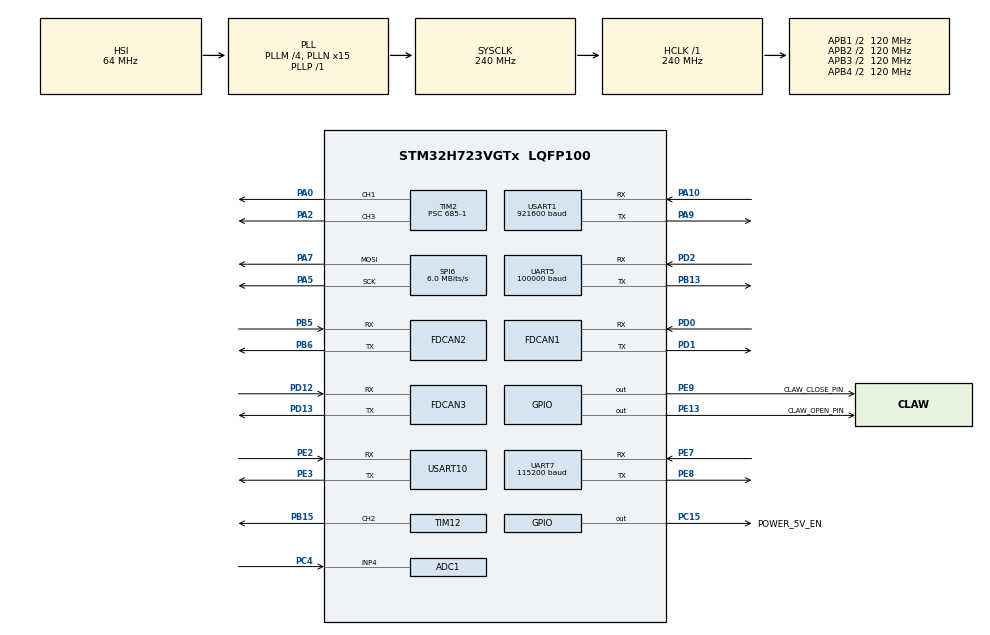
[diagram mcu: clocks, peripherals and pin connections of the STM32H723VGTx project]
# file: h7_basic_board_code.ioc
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ADC1.Channel-0\#ChannelRegularConversion=ADC_CHANNEL_4
ADC1.NbrOfConversionFlag=1
ADC1.OffsetNumber-0\#ChannelRegularConversion=ADC_OFFSET_NONE
ADC1.OffsetSignedSaturation-0\#ChannelRegularConversion=DISABLE
ADC1.Rank-0\#ChannelRegularConversion=1
ADC1.Resolution=ADC_RESOLUTION_12B
ADC1.SamplingTime-0\#ChannelRegularConversion=ADC_SAMPLETIME_1CYCLE_5
ADC1.master=1
ADC3.Channel-0\#ChannelRegularConversion=ADC_CHANNEL_VREFINT
ADC3.NbrOfConversionFlag=1
ADC3.OffsetNumber-0\#ChannelRegularConversion=ADC_OFFSET_NONE
ADC3.OffsetSign-0\#ChannelRegularConversion=ADC3_OFFSET_SIGN_NEGATIVE
ADC3.Rank-0\#ChannelRegularConversion=1
ADC3.SamplingTime-0\#ChannelRegularConversion=ADC3_SAMPLETIME_2CYCLES_5
Dma.Request0=UART5_RX
Dma.Request1=USART1_RX
Dma.Request2=USART1_TX
Dma.Request3=UART7_RX
Dma.Request4=UART7_TX
Dma.Request5=USART10_RX
Dma.Request6=USART10_TX
Dma.UART5_RX.0.Direction=DMA_PERIPH_TO_MEMORY
Dma.UART5_RX.0.EventEnable=DISABLE
Dma.UART5_RX.0.FIFOMode=DMA_FIFOMODE_DISABLE
Dma.UART5_RX.0.Instance=DMA1_Stream1
Dma.UART5_RX.0.MemDataAlignment=DMA_MDATAALIGN_BYTE
Dma.UART5_RX.0.MemInc=DMA_MINC_ENABLE
Dma.UART5_RX.0.Mode=DMA_NORMAL
Dma.UART5_RX.0.PeriphDataAlignment=DMA_PDATAALIGN_BYTE
Dma.UART5_RX.0.PeriphInc=DMA_PINC_DISABLE
Dma.UART5_RX.0.Polarity=HAL_DMAMUX_REQ_GEN_RISING
Dma.UART5_RX.0.Priority=DMA_PRIORITY_HIGH
Dma.UART5_RX.0.RequestNumber=1
Dma.UART5_RX.0.SignalID=NONE
Dma.UART5_RX.0.SyncEnable=DISABLE
Dma.UART5_RX.0.SyncPolarity=HAL_DMAMUX_SYNC_NO_EVENT
Dma.UART5_RX.0.SyncRequestNumber=1
Dma.UART5_RX.0.SyncSignalID=NONE
Dma.UART7_RX.3.Direction=DMA_PERIPH_TO_MEMORY
Dma.UART7_RX.3.EventEnable=DISABLE
Dma.UART7_RX.3.FIFOMode=DMA_FIFOMODE_DISABLE
Dma.UART7_RX.3.Instance=DMA1_Stream2
Dma.UART7_RX.3.MemDataAlignment=DMA_MDATAALIGN_BYTE
Dma.UART7_RX.3.MemInc=DMA_MINC_ENABLE
Dma.UART7_RX.3.Mode=DMA_NORMAL
Dma.UART7_RX.3.PeriphDataAlignment=DMA_PDATAALIGN_BYTE
Dma.UART7_RX.3.PeriphInc=DMA_PINC_DISABLE
Dma.UART7_RX.3.Polarity=HAL_DMAMUX_REQ_GEN_RISING
Dma.UART7_RX.3.Priority=DMA_PRIORITY_MEDIUM
Dma.UART7_RX.3.RequestNumber=1
Dma.UART7_RX.3.SignalID=NONE
Dma.UART7_RX.3.SyncEnable=DISABLE
Dma.UART7_RX.3.SyncPolarity=HAL_DMAMUX_SYNC_NO_EVENT
Dma.UART7_RX.3.SyncRequestNumber=1
Dma.UART7_RX.3.SyncSignalID=NONE
Dma.UART7_TX.4.Direction=DMA_MEMORY_TO_PERIPH
Dma.UART7_TX.4.EventEnable=DISABLE
Dma.UART7_TX.4.FIFOMode=DMA_FIFOMODE_DISABLE
Dma.UART7_TX.4.Instance=DMA1_Stream3
Dma.UART7_TX.4.MemDataAlignment=DMA_MDATAALIGN_BYTE
Dma.UART7_TX.4.MemInc=DMA_MINC_ENABLE
Dma.UART7_TX.4.Mode=DMA_NORMAL
Dma.UART7_TX.4.PeriphDataAlignment=DMA_PDATAALIGN_BYTE
Dma.UART7_TX.4.PeriphInc=DMA_PINC_DISABLE
Dma.UART7_TX.4.Polarity=HAL_DMAMUX_REQ_GEN_RISING
Dma.UART7_TX.4.Priority=DMA_PRIORITY_MEDIUM
Dma.UART7_TX.4.RequestNumber=1
Dma.UART7_TX.4.SignalID=NONE
Dma.UART7_TX.4.SyncEnable=DISABLE
Dma.UART7_TX.4.SyncPolarity=HAL_DMAMUX_SYNC_NO_EVENT
Dma.UART7_TX.4.SyncRequestNumber=1
Dma.UART7_TX.4.SyncSignalID=NONE
Dma.USART10_RX.5.Direction=DMA_PERIPH_TO_MEMORY
Dma.USART10_RX.5.EventEnable=DISABLE
Dma.USART10_RX.5.FIFOMode=DMA_FIFOMODE_DISABLE
Dma.USART10_RX.5.Instance=DMA1_Stream4
Dma.USART10_RX.5.MemDataAlignment=DMA_MDATAALIGN_BYTE
Dma.USART10_RX.5.MemInc=DMA_MINC_ENABLE
Dma.USART10_RX.5.Mode=DMA_NORMAL
Dma.USART10_RX.5.PeriphDataAlignment=DMA_PDATAALIGN_BYTE
Dma.USART10_RX.5.PeriphInc=DMA_PINC_DISABLE
Dma.USART10_RX.5.Polarity=HAL_DMAMUX_REQ_GEN_RISING
Dma.USART10_RX.5.Priority=DMA_PRIORITY_MEDIUM
Dma.USART10_RX.5.RequestNumber=1
Dma.USART10_RX.5.SignalID=NONE
Dma.USART10_RX.5.SyncEnable=DISABLE
Dma.USART10_RX.5.SyncPolarity=HAL_DMAMUX_SYNC_NO_EVENT
Dma.USART10_RX.5.SyncRequestNumber=1
Dma.USART10_RX.5.SyncSignalID=NONE
Dma.USART10_TX.6.Direction=DMA_MEMORY_TO_PERIPH
Dma.USART10_TX.6.EventEnable=DISABLE
Dma.USART10_TX.6.FIFOMode=DMA_FIFOMODE_DISABLE
Dma.USART10_TX.6.Instance=DMA1_Stream5
Dma.USART10_TX.6.MemDataAlignment=DMA_MDATAALIGN_BYTE
Dma.USART10_TX.6.MemInc=DMA_MINC_ENABLE
Dma.USART10_TX.6.Mode=DMA_NORMAL
Dma.USART10_TX.6.PeriphDataAlignment=DMA_PDATAALIGN_BYTE
Dma.USART10_TX.6.PeriphInc=DMA_PINC_DISABLE
Dma.USART10_TX.6.Polarity=HAL_DMAMUX_REQ_GEN_RISING
Dma.USART10_TX.6.Priority=DMA_PRIORITY_MEDIUM
Dma.USART10_TX.6.RequestNumber=1
Dma.USART10_TX.6.SignalID=NONE
Dma.USART10_TX.6.SyncEnable=DISABLE
Dma.USART10_TX.6.SyncPolarity=HAL_DMAMUX_SYNC_NO_EVENT
Dma.USART10_TX.6.SyncRequestNumber=1
Dma.USART10_TX.6.SyncSignalID=NONE
Dma.USART1_RX.1.Direction=DMA_PERIPH_TO_MEMORY
Dma.USART1_RX.1.EventEnable=DISABLE
Dma.USART1_RX.1.FIFOMode=DMA_FIFOMODE_DISABLE
Dma.USART1_RX.1.Instance=DMA1_Stream0
Dma.USART1_RX.1.MemDataAlignment=DMA_MDATAALIGN_BYTE
Dma.USART1_RX.1.MemInc=DMA_MINC_ENABLE
Dma.USART1_RX.1.Mode=DMA_NORMAL
Dma.USART1_RX.1.PeriphDataAlignment=DMA_PDATAALIGN_BYTE
Dma.USART1_RX.1.PeriphInc=DMA_PINC_DISABLE
Dma.USART1_RX.1.Polarity=HAL_DMAMUX_REQ_GEN_RISING
Dma.USART1_RX.1.Priority=DMA_PRIORITY_MEDIUM
Dma.USART1_RX.1.RequestNumber=1
Dma.USART1_RX.1.SignalID=NONE
Dma.USART1_RX.1.SyncEnable=DISABLE
Dma.USART1_RX.1.SyncPolarity=HAL_DMAMUX_SYNC_NO_EVENT
Dma.USART1_RX.1.SyncRequestNumber=1
Dma.USART1_RX.1.SyncSignalID=NONE
Dma.USART1_TX.2.Direction=DMA_MEMORY_TO_PERIPH
Dma.USART1_TX.2.EventEnable=DISABLE
Dma.USART1_TX.2.FIFOMode=DMA_FIFOMODE_DISABLE
Dma.USART1_TX.2.Instance=DMA1_Stream7
Dma.USART1_TX.2.MemDataAlignment=DMA_MDATAALIGN_BYTE
Dma.USART1_TX.2.MemInc=DMA_MINC_ENABLE
Dma.USART1_TX.2.Mode=DMA_NORMAL
Dma.USART1_TX.2.PeriphDataAlignment=DMA_PDATAALIGN_BYTE
Dma.USART1_TX.2.PeriphInc=DMA_PINC_DISABLE
Dma.USART1_TX.2.Polarity=HAL_DMAMUX_REQ_GEN_RISING
Dma.USART1_TX.2.Priority=DMA_PRIORITY_MEDIUM
Dma.USART1_TX.2.RequestNumber=1
Dma.USART1_TX.2.SignalID=NONE
Dma.USART1_TX.2.SyncEnable=DISABLE
Dma.USART1_TX.2.SyncPolarity=HAL_DMAMUX_SYNC_NO_EVENT
Dma.USART1_TX.2.SyncRequestNumber=1
Dma.USART1_TX.2.SyncSignalID=NONE
FDCAN1.CalculateBaudRateNominal=1000000
FDCAN1.CalculateTimeBitNominal=1000
FDCAN1.CalculateTimeQuantumNominal=200.0
FDCAN1.ExtFiltersNbr=1
FDCAN1.NominalPrescaler=24
FDCAN1.RxFifo0ElmtsNbr=32
FDCAN1.StdFiltersNbr=1
FDCAN1.TxFifoQueueElmtsNbr=32
FDCAN2.CalculateBaudRateNominal=1000000
FDCAN2.CalculateTimeBitNominal=1000
FDCAN2.CalculateTimeQuantumNominal=200.0
FDCAN2.ExtFiltersNbr=1
FDCAN2.NominalPrescaler=24
FDCAN2.RxFifo0ElmtsNbr=32
FDCAN2.StdFiltersNbr=1
FDCAN2.TxFifoQueueElmtsNbr=32
FDCAN3.CalculateBaudRateNominal=1000000
FDCAN3.CalculateTimeBitNominal=1000
FDCAN3.CalculateTimeQuantumNominal=200.0
FDCAN3.ExtFiltersNbr=1
FDCAN3.NominalPrescaler=24
FDCAN3.RxFifo0ElmtsNbr=32
FDCAN3.StdFiltersNbr=1
FDCAN3.TxFifoQueueElmtsNbr=32
FREERTOS.Tasks01=defaultTask,24,256,StartDefaultTask,Default,NULL,Dynamic,NULL,NULL;ChassisTask,24,256,__chassis_task,Default,NULL,Dynamic,NULL,NULL;USART2_measure,24,512,__usart2_measure_task,Default,NULL,Dynamic,NULL,NULL;GimbalTask,24,256,__gimbal_task,Default,NULL,Dynamic,NULL,NULL;HandTask,24,1024,__hand_task,Default,NULL,Dynamic,NULL,NULL;USART3_measure,24,128,__usart3_measure_task,Default,NULL,Dynamic,NULL,NULL;CustomCtrlTask,24,256,__Custom_Ctrl_Task,Default,NULL,Dynamic,NULL,NULL;CatcherTask,24,128,__catcher_task,Default,NULL,Dynamic,NULL,NULL;referee_task,24,518,__referee_task,Default,NULL,Dynamic,NULL,NULL;VofaTask,8,128,__vofa_uart_task,Default,NULL,Dynamic,NULL,NULL
FREERTOS.Timers01=motor_timer_ctrl,__motor_timr_ctrl_callback,osTimerPeriodic,Default,NULL,Dynamic,NULL;RM_UI_Timer,__RM_UI_Timer,osTimerPeriodic,Default,NULL,Dynamic,NULL
Mcu.Family=STM32H7
Mcu.Name=STM32H723VGTx
Mcu.Package=LQFP100
NVIC.DMA1_Stream0_IRQn=true\:5\:0\:false\:false\:true\:true\:false\:true\:true
NVIC.DMA1_Stream1_IRQn=true\:5\:0\:false\:false\:true\:false\:false\:true\:true
NVIC.DMA1_Stream2_IRQn=true\:5\:0\:false\:false\:true\:true\:false\:true\:true
NVIC.DMA1_Stream3_IRQn=true\:5\:0\:false\:false\:true\:true\:false\:true\:true
NVIC.DMA1_Stream4_IRQn=true\:5\:0\:false\:false\:true\:true\:false\:true\:true
NVIC.DMA1_Stream5_IRQn=true\:5\:0\:false\:false\:true\:true\:false\:true\:true
NVIC.DMA1_Stream7_IRQn=true\:5\:0\:false\:false\:true\:false\:false\:true\:true
NVIC.FDCAN1_IT0_IRQn=true\:5\:0\:false\:false\:true\:true\:true\:true\:true
NVIC.FDCAN1_IT1_IRQn=true\:5\:0\:false\:false\:true\:true\:true\:true\:true
NVIC.FDCAN2_IT0_IRQn=true\:5\:0\:false\:false\:true\:true\:true\:true\:true
NVIC.FDCAN2_IT1_IRQn=true\:5\:0\:false\:false\:true\:true\:true\:true\:true
NVIC.FDCAN3_IT0_IRQn=true\:5\:0\:false\:false\:true\:true\:true\:true\:true
NVIC.FDCAN3_IT1_IRQn=true\:5\:0\:false\:false\:true\:true\:true\:true\:true
NVIC.PriorityGroup=NVIC_PRIORITYGROUP_4
NVIC.TIM6_DAC_IRQn=true\:15\:0\:false\:false\:true\:false\:false\:true\:true
NVIC.TimeBase=TIM6_DAC_IRQn
NVIC.TimeBaseIP=TIM6
NVIC.UART5_IRQn=true\:5\:0\:false\:false\:true\:true\:true\:true\:true
NVIC.UART7_IRQn=true\:5\:0\:false\:false\:true\:true\:true\:true\:true
NVIC.USART10_IRQn=true\:5\:0\:false\:false\:true\:true\:true\:true\:true
NVIC.USART1_IRQn=true\:5\:0\:false\:false\:true\:true\:true\:true\:true
PA0.Signal=S_TIM2_CH1_ETR
PA10.Mode=Asynchronous
PA10.Signal=USART1_RX
PA2.Signal=S_TIM2_CH3
PA5.Mode=TX_Only_Simplex_Unidirect_Master
PA5.Signal=SPI6_SCK
PA7.Mode=TX_Only_Simplex_Unidirect_Master
PA7.Signal=SPI6_MOSI
PA9.Mode=Asynchronous
PA9.Signal=USART1_TX
PB13.Mode=Asynchronous
PB13.Signal=UART5_TX
PB15.Signal=S_TIM12_CH2
PB5.Mode=FDCAN_Activate
PB5.Signal=FDCAN2_RX
PB6.Mode=FDCAN_Activate
PB6.Signal=FDCAN2_TX
PC15-OSC32_OUT.GPIO_Label=POWER_5V_EN
PC15-OSC32_OUT.GPIO_PuPd=GPIO_NOPULL
PC15-OSC32_OUT.GPIO_Speed=GPIO_SPEED_FREQ_LOW
PC15-OSC32_OUT.Signal=GPIO_Output
PC4.Signal=ADCx_INP4
PD0.Mode=FDCAN_Activate
PD0.Signal=FDCAN1_RX
PD1.Mode=FDCAN_Activate
PD1.Signal=FDCAN1_TX
PD12.Mode=FDCAN_Activate
PD12.Signal=FDCAN3_RX
PD13.Mode=FDCAN_Activate
PD13.Signal=FDCAN3_TX
PD2.Mode=Asynchronous
PD2.Signal=UART5_RX
PE13.GPIO_Label=CLAW_OPEN_PIN 
PE13.Signal=GPIO_Output
PE2.Mode=Asynchronous
PE2.Signal=USART10_RX
PE3.Mode=Asynchronous
PE3.Signal=USART10_TX
PE7.Mode=Asynchronous
PE7.Signal=UART7_RX
PE8.Mode=Asynchronous
PE8.Signal=UART7_TX
PE9.GPIO_Label=CLAW_CLOSE_PIN
PE9.Signal=GPIO_Output
PH0-OSC_IN.Mode=HSE-External-Oscillator
PH0-OSC_IN.Signal=RCC_OSC_IN
PH1-OSC_OUT.Mode=HSE-External-Oscillator
PH1-OSC_OUT.Signal=RCC_OSC_OUT
ProjectManager.HeapSize=0x4000
ProjectManager.StackSize=0x4000
ProjectManager.TargetToolchain=MDK-ARM V5.32
RCC.ADCFreq_Value=96000000
RCC.APB1Freq_Value=120000000
RCC.APB2Freq_Value=120000000
RCC.APB3Freq_Value=120000000
RCC.APB4Freq_Value=120000000
RCC.CortexFreq_Value=240000000
RCC.D1PPRE=RCC_APB3_DIV2
RCC.D2PPRE1=RCC_APB1_DIV2
RCC.D2PPRE2=RCC_APB2_DIV2
RCC.D3PPRE=RCC_APB4_DIV2
RCC.DIVM1=4
RCC.DIVM2=4
RCC.DIVN1=15
RCC.DIVN2=12
RCC.DIVP1=1
RCC.HCLKFreq_Value=240000000
RCC.HSE_VALUE=24000000
RCC.PLL2FRACN=0
RCC.PLL3FRACN=0
RCC.PLLFRACN=0
RCC.PWR_Regulator_Voltage_Scale=PWR_REGULATOR_VOLTAGE_SCALE0
RCC.SPI6CLockSelection=RCC_SPI6CLKSOURCE_HSE
RCC.SYSCLKFreq_VALUE=240000000
RCC.SYSCLKSource=RCC_SYSCLKSOURCE_PLLCLK
RCC.USBFreq_Value=120000000
SH.ADCx_INP4.0=ADC1_INP4,IN4-Single-Ended
SH.S_TIM12_CH2.0=TIM12_CH2,PWM Generation2 CH2
SH.S_TIM2_CH1_ETR.0=TIM2_CH1,PWM Generation1 CH1
SH.S_TIM2_CH3.0=TIM2_CH3,PWM Generation3 CH3
SPI6.BaudRatePrescaler=SPI_BAUDRATEPRESCALER_4
SPI6.CLKPhase=SPI_PHASE_2EDGE
SPI6.CalculateBaudRate=6.0 MBits/s
SPI6.DataSize=SPI_DATASIZE_8BIT
SPI6.Direction=SPI_DIRECTION_2LINES_TXONLY
SPI6.Mode=SPI_MODE_MASTER
SPI6.VirtualType=VM_MASTER
TIM12.Channel-PWM\ Generation2\ CH2=TIM_CHANNEL_2
TIM12.Period=2000-1
TIM12.Prescaler=24-1
TIM2.AutoReloadPreload=TIM_AUTORELOAD_PRELOAD_DISABLE
TIM2.Channel-PWM\ Generation1\ CH1=TIM_CHANNEL_1
TIM2.Channel-PWM\ Generation3\ CH3=TIM_CHANNEL_3
TIM2.Period=1000-1
TIM2.Prescaler=685-1
TIM2.Pulse-PWM\ Generation1\ CH1=0
UART5.BaudRate=100000
UART5.Mode=MODE_TX_RX
UART5.Parity=PARITY_EVEN
UART5.StopBits=UART_STOPBITS_1
UART5.WordLength=WORDLENGTH_9B
UART7.BaudRate=115200
USART1.BaudRate=921600
USART1.VirtualMode-Asynchronous=VM_ASYNC
USART10.VirtualMode=VM_ASYNC
VP_ADC3_TempSens_Input.Mode=IN-TempSens
VP_ADC3_Vref_Input.Mode=IN-Vrefint
VP_FREERTOS_VS_CMSIS_V2.Mode=CMSIS_V2
VP_SYS_VS_tim6.Mode=TIM6
VREF+.Mode=InternalMode
VREF+.Signal=VREFBUF_OUT
board=custom

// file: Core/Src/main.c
/* USER CODE BEGIN Header */
/**
  ******************************************************************************
  * @file           : main.c
  * @brief          : Main program body
  ******************************************************************************
  * @attention
  *
  * Copyright (c) 2024 STMicroelectronics.
  * All rights reserved.
  *
  * This software is licensed under terms that can be found in the LICENSE file
  * in the root directory of this software component.
  * If no LICENSE file comes with this software, it is provided AS-IS.
  *
  ******************************************************************************
  */
/* USER CODE END Header */
#include "main.h"
#include "cmsis_os.h"

/* USER CODE BEGIN Includes */
#include "ws2812.h"
#include "bsp_pwm.h"
#include "remote_control.h" /*??��????*/
#include "can_bsp.h"
#include "bsp_usart.h"
#include "timers.h"

#include "task.h"
#include "chassis_task.h"
#include "gimbal_task.h"
#include "hand_task.h"
#include "catcher_task.h"
#include "detect_task.h"
#include "referee_usart_task.h"
#include "motor_timer_ctrl.h"
#include "DJI_motor_canbus.h"
#include "Custom_ctrl.h"
#include "visual_trajectory_h7_adapter.h"
#include "Vofa.h"
#include "ui.h"
#include "vofa_uart_task.h"
#include "AK_series.h"
/* USER CODE END Includes */

ADC_HandleTypeDef hadc1;
ADC_HandleTypeDef hadc3;

FDCAN_HandleTypeDef hfdcan1;
FDCAN_HandleTypeDef hfdcan2;
FDCAN_HandleTypeDef hfdcan3;

SPI_HandleTypeDef hspi6;

TIM_HandleTypeDef htim2;
TIM_HandleTypeDef htim12;

UART_HandleTypeDef huart5;
UART_HandleTypeDef huart7;
UART_HandleTypeDef huart1;
UART_HandleTypeDef huart10;
DMA_HandleTypeDef hdma_uart5_rx;
DMA_HandleTypeDef hdma_uart7_rx;
DMA_HandleTypeDef hdma_uart7_tx;
DMA_HandleTypeDef hdma_usart1_rx;
DMA_HandleTypeDef hdma_usart1_tx;
DMA_HandleTypeDef hdma_usart10_rx;
DMA_HandleTypeDef hdma_usart10_tx;

/* Definitions for defaultTask */
osThreadId_t defaultTaskHandle;
const osThreadAttr_t defaultTask_attributes = {
  .name = "defaultTask",
  .stack_size = 256 * 4,
  .priority = (osPriority_t) osPriorityNormal,
};
/* Definitions for ChassisTask */
osThreadId_t ChassisTaskHandle;
const osThreadAttr_t ChassisTask_attributes = {
  .name = "ChassisTask",
  .stack_size = 256 * 4,
  .priority = (osPriority_t) osPriorityNormal,
};
/* Definitions for USART2_measure */
osThreadId_t USART2_measureHandle;
const osThreadAttr_t USART2_measure_attributes = {
  .name = "USART2_measure",
  .stack_size = 512 * 4,
  .priority = (osPriority_t) osPriorityNormal,
};
/* Definitions for GimbalTask */
osThreadId_t GimbalTaskHandle;
const osThreadAttr_t GimbalTask_attributes = {
  .name = "GimbalTask",
  .stack_size = 256 * 4,
  .priority = (osPriority_t) osPriorityNormal,
};
/* Definitions for HandTask */
osThreadId_t HandTaskHandle;
const osThreadAttr_t HandTask_attributes = {
  .name = "HandTask",
  .stack_size = 1024 * 4,
  .priority = (osPriority_t) osPriorityNormal,
};
/* Definitions for USART3_measure */
osThreadId_t USART3_measureHandle;
const osThreadAttr_t USART3_measure_attributes = {
  .name = "USART3_measure",
  .stack_size = 128 * 4,
  .priority = (osPriority_t) osPriorityNormal,
};
/* Definitions for CustomCtrlTask */
osThreadId_t CustomCtrlTaskHandle;
const osThreadAttr_t CustomCtrlTask_attributes = {
  .name = "CustomCtrlTask",
  .stack_size = 512 * 4,
  .priority = (osPriority_t) osPriorityNormal,
};
/* Definitions for CatcherTask */
osThreadId_t CatcherTaskHandle;
const osThreadAttr_t CatcherTask_attributes = {
  .name = "CatcherTask",
  .stack_size = 128 * 4,
  .priority = (osPriority_t) osPriorityNormal,
};
/* Definitions for referee_task */
osThreadId_t referee_taskHandle;
const osThreadAttr_t referee_task_attributes = {
  .name = "referee_task",
  .stack_size = 518 * 4,
  .priority = (osPriority_t) osPriorityNormal,
};
/* Definitions for VofaTask */
osThreadId_t VofaTaskHandle;
const osThreadAttr_t VofaTask_attributes = {
  .name = "VofaTask",
  .stack_size = 128 * 4,
  .priority = (osPriority_t) osPriorityLow,
};
/* Definitions for motor_timer_ctrl */
osTimerId_t motor_timer_ctrlHandle;
const osTimerAttr_t motor_timer_ctrl_attributes = {
  .name = "motor_timer_ctrl"
};
/* Definitions for RM_UI_Timer */
osTimerId_t RM_UI_TimerHandle;
const osTimerAttr_t RM_UI_Timer_attributes = {
  .name = "RM_UI_Timer"
};
/* USER CODE BEGIN PV */
/*task????*/
osThreadId chassis_task_handle;
Vofa_HandleTypedef vofa_handler;
/* USER CODE END PV */

void SystemClock_Config(void);
void PeriphCommonClock_Config(void);
static void MX_GPIO_Init(void);
static void MX_DMA_Init(void);
static void MX_ADC3_Init(void);
static void MX_UART5_Init(void);
static void MX_ADC1_Init(void);
static void MX_SPI6_Init(void);
static void MX_FDCAN1_Init(void);
static void MX_USART1_UART_Init(void);
static void MX_UART7_Init(void);
static void MX_USART10_UART_Init(void);
static void MX_FDCAN2_Init(void);
static void MX_FDCAN3_Init(void);
static void MX_TIM2_Init(void);
static void MX_TIM12_Init(void);
void StartDefaultTask(void *argument);
void __chassis_task(void *argument);
void __usart2_measure_task(void *argument);
void __gimbal_task(void *argument);
void __hand_task(void *argument);
void __usart3_measure_task(void *argument);
void __Custom_Ctrl_Task(void *argument);
void __catcher_task(void *argument);
void __referee_task(void *argument);
void __vofa_uart_task(void *argument);
void __motor_timr_ctrl_callback(void *argument);
void __RM_UI_Timer(void *argument);

int main(void)
 {
  /* USER CODE BEGIN 1 */
  for(int aaaa = 1000000 ; aaaa > 0 ; aaaa--)
	{
    ;
	}
  /* USER CODE END 1 */

  /* MCU Configuration--------------------------------------------------------*/

  /* Reset of all peripherals, Initializes the Flash interface and the Systick. */
  HAL_Init();

  /* Configure the system clock */
  SystemClock_Config();

/* Configure the peripherals common clocks */
  PeriphCommonClock_Config();

  /* Initialize all configured peripherals */
  MX_GPIO_Init();
  MX_DMA_Init();
  MX_ADC3_Init();
  MX_UART5_Init();
  MX_ADC1_Init();
  MX_SPI6_Init();
  MX_FDCAN1_Init();
  MX_USART1_UART_Init();
  MX_UART7_Init();
  MX_USART10_UART_Init();
  MX_FDCAN2_Init();
  MX_FDCAN3_Init();
  MX_TIM2_Init();
  MX_TIM12_Init();
  /* USER CODE BEGIN 2 */
  HAL_TIM_PWM_Start(&htim2,TIM_CHANNEL_1);
  HAL_TIM_PWM_Start(&htim2,TIM_CHANNEL_3);
  remote_control_init();
  can_bsp_init();
  usart1_init();
  uart7_init();
  usart10_init();
  DJI_CANBus_init_all();
  /* USART10 is dedicated to the visual arm protocol; RM_UI is disabled. */
  WS2812_Ctrl(0,0,0);

  /* TEMP TEST: drive PD5/PD6 high to verify these pins output high level */
//  HAL_GPIO_WritePin(GPIOE, GPIO_PIN_9, GPIO_PIN_SET);
//	HAL_Delay(100);
//	HAL_GPIO_WritePin(GPIOE, GPIO_PIN_9, GPIO_PIN_RESET);
//	HAL_Delay(2000);
//  HAL_GPIO_WritePin(GPIOE, GPIO_PIN_13, GPIO_PIN_SET);
//	HAL_Delay(100);
//	HAL_GPIO_WritePin(GPIOE, GPIO_PIN_13, GPIO_PIN_RESET);
//	HAL_Delay(2000);
  //Vofa_Init(&vofa_handler,VOFA_MODE_SKIP);

HAL_GPIO_WritePin(POWER_5V_EN_GPIO_Port,POWER_5V_EN_Pin,GPIO_PIN_SET);
  HAL_Delay(3000);/*delay for initalization of motor*/
  /* USER CODE END 2 */

  /* Init scheduler */
  osKernelInitialize();

  /* Create the timer(s) */
  /* creation of motor_timer_ctrl */
  motor_timer_ctrlHandle = osTimerNew(__motor_timr_ctrl_callback, osTimerPeriodic, NULL, &motor_timer_ctrl_attributes);

  /* creation of RM_UI_Timer */
  RM_UI_TimerHandle = osTimerNew(__RM_UI_Timer, osTimerPeriodic, NULL, &RM_UI_Timer_attributes);

  /* USER CODE BEGIN RTOS_TIMERS */
  motor_ctrl_init();
  /* RM_UI timer intentionally not started: USART10 belongs to visual control. */
  /* start timers, add new ones, ... */
  /* USER CODE END RTOS_TIMERS */

  /* Create the thread(s) */
  /* creation of defaultTask */
  defaultTaskHandle = osThreadNew(StartDefaultTask, NULL, &defaultTask_attributes);

  /* creation of ChassisTask */
  //ChassisTaskHandle = osThreadNew(__chassis_task, NULL, &ChassisTask_attributes);

  /* creation of USART2_measure */
  USART2_measureHandle = osThreadNew(__usart2_measure_task, NULL, &USART2_measure_attributes);

  /* creation of GimbalTask */
  //GimbalTaskHandle = osThreadNew(__gimbal_task, NULL, &GimbalTask_attributes);

  /* creation of HandTask */
  HandTaskHandle = osThreadNew(__hand_task, NULL, &HandTask_attributes);

  /* creation of USART3_measure */
  USART3_measureHandle = osThreadNew(__usart3_measure_task, NULL, &USART3_measure_attributes);

  /* creation of CustomCtrlTask */
  CustomCtrlTaskHandle = osThreadNew(__Custom_Ctrl_Task, NULL, &CustomCtrlTask_attributes);

  /* creation of CatcherTask */
  //CatcherTaskHandle = osThreadNew(__catcher_task, NULL, &CatcherTask_attributes);

  /* creation of referee_task */
  //referee_taskHandle = osThreadNew(__referee_task, NULL, &referee_task_attributes);

  /* creation of VofaTask */
  //VofaTaskHandle = osThreadNew(__vofa_uart_task, NULL, &VofaTask_attributes);

  /* Start scheduler */
  osKernelStart();

  /* We should never get here as control is now taken by the scheduler */
  /* Infinite loop */
  while (1)
  {

  }
}

void SystemClock_Config(void)
{
  RCC_OscInitTypeDef RCC_OscInitStruct = {0};
  RCC_ClkInitTypeDef RCC_ClkInitStruct = {0};

  /** Supply configuration update enable
  */
  HAL_PWREx_ConfigSupply(PWR_LDO_SUPPLY);

  /** Configure the main internal regulator output voltage
  */
  __HAL_PWR_VOLTAGESCALING_CONFIG(PWR_REGULATOR_VOLTAGE_SCALE0);

  while(!__HAL_PWR_GET_FLAG(PWR_FLAG_VOSRDY)) {}

  /** Initializes the RCC Oscillators according to the specified parameters
  * in the RCC_OscInitTypeDef structure.
  */
  RCC_OscInitStruct.OscillatorType = RCC_OSCILLATORTYPE_HSI|RCC_OSCILLATORTYPE_HSE;
  RCC_OscInitStruct.HSEState = RCC_HSE_ON;
  RCC_OscInitStruct.HSIState = RCC_HSI_DIV1;
  RCC_OscInitStruct.HSICalibrationValue = 64;
  RCC_OscInitStruct.PLL.PLLState = RCC_PLL_ON;
  RCC_OscInitStruct.PLL.PLLSource = RCC_PLLSOURCE_HSI;
  RCC_OscInitStruct.PLL.PLLM = 4;
  RCC_OscInitStruct.PLL.PLLN = 15;
  RCC_OscInitStruct.PLL.PLLP = 1;
  RCC_OscInitStruct.PLL.PLLQ = 2;
  RCC_OscInitStruct.PLL.PLLR = 2;
  RCC_OscInitStruct.PLL.PLLRGE = RCC_PLL1VCIRANGE_3;
  RCC_OscInitStruct.PLL.PLLVCOSEL = RCC_PLL1VCOWIDE;
  RCC_OscInitStruct.PLL.PLLFRACN = 0;
  if (HAL_RCC_OscConfig(&RCC_OscInitStruct) != HAL_OK)
  {
    Error_Handler();
  }

  /** Initializes the CPU, AHB and APB buses clocks
  */
  RCC_ClkInitStruct.ClockType = RCC_CLOCKTYPE_HCLK|RCC_CLOCKTYPE_SYSCLK
                              |RCC_CLOCKTYPE_PCLK1|RCC_CLOCKTYPE_PCLK2
                              |RCC_CLOCKTYPE_D3PCLK1|RCC_CLOCKTYPE_D1PCLK1;
  RCC_ClkInitStruct.SYSCLKSource = RCC_SYSCLKSOURCE_PLLCLK;
  RCC_ClkInitStruct.SYSCLKDivider = RCC_SYSCLK_DIV1;
  RCC_ClkInitStruct.AHBCLKDivider = RCC_HCLK_DIV1;
  RCC_ClkInitStruct.APB3CLKDivider = RCC_APB3_DIV2;
  RCC_ClkInitStruct.APB1CLKDivider = RCC_APB1_DIV2;
  RCC_ClkInitStruct.APB2CLKDivider = RCC_APB2_DIV2;
  RCC_ClkInitStruct.APB4CLKDivider = RCC_APB4_DIV2;

  if (HAL_RCC_ClockConfig(&RCC_ClkInitStruct, FLASH_LATENCY_3) != HAL_OK)
  {
    Error_Handler();
  }
}

void PeriphCommonClock_Config(void)
{
  RCC_PeriphCLKInitTypeDef PeriphClkInitStruct = {0};

  /** Initializes the peripherals clock
  */
  PeriphClkInitStruct.PeriphClockSelection = RCC_PERIPHCLK_ADC;
  PeriphClkInitStruct.PLL2.PLL2M = 4;
  PeriphClkInitStruct.PLL2.PLL2N = 12;
  PeriphClkInitStruct.PLL2.PLL2P = 2;
  PeriphClkInitStruct.PLL2.PLL2Q = 2;
  PeriphClkInitStruct.PLL2.PLL2R = 2;
  PeriphClkInitStruct.PLL2.PLL2RGE = RCC_PLL2VCIRANGE_3;
  PeriphClkInitStruct.PLL2.PLL2VCOSEL = RCC_PLL2VCOWIDE;
  PeriphClkInitStruct.PLL2.PLL2FRACN = 0;
  PeriphClkInitStruct.AdcClockSelection = RCC_ADCCLKSOURCE_PLL2;
  if (HAL_RCCEx_PeriphCLKConfig(&PeriphClkInitStruct) != HAL_OK)
  {
    Error_Handler();
  }
}

static void MX_ADC1_Init(void)
{

  ADC_MultiModeTypeDef multimode = {0};
  ADC_ChannelConfTypeDef sConfig = {0};

  /** Common config
  */
  hadc1.Instance = ADC1;
  hadc1.Init.ClockPrescaler = ADC_CLOCK_ASYNC_DIV1;
  hadc1.Init.Resolution = ADC_RESOLUTION_12B;
  hadc1.Init.ScanConvMode = ADC_SCAN_DISABLE;
  hadc1.Init.EOCSelection = ADC_EOC_SINGLE_CONV;
  hadc1.Init.LowPowerAutoWait = DISABLE;
  hadc1.Init.ContinuousConvMode = DISABLE;
  hadc1.Init.NbrOfConversion = 1;
  hadc1.Init.DiscontinuousConvMode = DISABLE;
  hadc1.Init.ExternalTrigConv = ADC_SOFTWARE_START;
  hadc1.Init.ExternalTrigConvEdge = ADC_EXTERNALTRIGCONVEDGE_NONE;
  hadc1.Init.ConversionDataManagement = ADC_CONVERSIONDATA_DR;
  hadc1.Init.Overrun = ADC_OVR_DATA_PRESERVED;
  hadc1.Init.LeftBitShift = ADC_LEFTBITSHIFT_NONE;
  hadc1.Init.OversamplingMode = DISABLE;
  if (HAL_ADC_Init(&hadc1) != HAL_OK)
  {
    Error_Handler();
  }

  /** Configure the ADC multi-mode
  */
  multimode.Mode = ADC_MODE_INDEPENDENT;
  if (HAL_ADCEx_MultiModeConfigChannel(&hadc1, &multimode) != HAL_OK)
  {
    Error_Handler();
  }

  /** Configure Regular Channel
  */
  sConfig.Channel = ADC_CHANNEL_4;
  sConfig.Rank = ADC_REGULAR_RANK_1;
  sConfig.SamplingTime = ADC_SAMPLETIME_1CYCLE_5;
  sConfig.SingleDiff = ADC_SINGLE_ENDED;
  sConfig.OffsetNumber = ADC_OFFSET_NONE;
  sConfig.Offset = 0;
  sConfig.OffsetSignedSaturation = DISABLE;
  if (HAL_ADC_ConfigChannel(&hadc1, &sConfig) != HAL_OK)
  {
    Error_Handler();
  }

}

static void MX_ADC3_Init(void)
{

  ADC_ChannelConfTypeDef sConfig = {0};

  /** Common config
  */
  hadc3.Instance = ADC3;
  hadc3.Init.ClockPrescaler = ADC_CLOCK_ASYNC_DIV1;
  hadc3.Init.Resolution = ADC_RESOLUTION_12B;
  hadc3.Init.DataAlign = ADC3_DATAALIGN_RIGHT;
  hadc3.Init.ScanConvMode = ADC_SCAN_DISABLE;
  hadc3.Init.EOCSelection = ADC_EOC_SINGLE_CONV;
  hadc3.Init.LowPowerAutoWait = DISABLE;
  hadc3.Init.ContinuousConvMode = DISABLE;
  hadc3.Init.NbrOfConversion = 1;
  hadc3.Init.DiscontinuousConvMode = DISABLE;
  hadc3.Init.ExternalTrigConv = ADC_SOFTWARE_START;
  hadc3.Init.ExternalTrigConvEdge = ADC_EXTERNALTRIGCONVEDGE_NONE;
  hadc3.Init.DMAContinuousRequests = DISABLE;
  hadc3.Init.SamplingMode = ADC_SAMPLING_MODE_NORMAL;
  hadc3.Init.ConversionDataManagement = ADC_CONVERSIONDATA_DR;
  hadc3.Init.Overrun = ADC_OVR_DATA_PRESERVED;
  hadc3.Init.LeftBitShift = ADC_LEFTBITSHIFT_NONE;
  hadc3.Init.OversamplingMode = DISABLE;
  if (HAL_ADC_Init(&hadc3) != HAL_OK)
  {
    Error_Handler();
  }

  /** Configure Regular Channel
  */
  sConfig.Channel = ADC_CHANNEL_VREFINT;
  sConfig.Rank = ADC_REGULAR_RANK_1;
  sConfig.SamplingTime = ADC3_SAMPLETIME_2CYCLES_5;
  sConfig.SingleDiff = ADC_SINGLE_ENDED;
  sConfig.OffsetNumber = ADC_OFFSET_NONE;
  sConfig.Offset = 0;
  sConfig.OffsetSign = ADC3_OFFSET_SIGN_NEGATIVE;
  if (HAL_ADC_ConfigChannel(&hadc3, &sConfig) != HAL_OK)
  {
    Error_Handler();
  }

}

static void MX_FDCAN1_Init(void)
{

  hfdcan1.Instance = FDCAN1;
  hfdcan1.Init.FrameFormat = FDCAN_FRAME_CLASSIC;
  hfdcan1.Init.Mode = FDCAN_MODE_NORMAL;
  hfdcan1.Init.AutoRetransmission = DISABLE;
  hfdcan1.Init.TransmitPause = DISABLE;
  hfdcan1.Init.ProtocolException = DISABLE;
  hfdcan1.Init.NominalPrescaler = 24;
  hfdcan1.Init.NominalSyncJumpWidth = 1;
  hfdcan1.Init.NominalTimeSeg1 = 2;
  hfdcan1.Init.NominalTimeSeg2 = 2;
  hfdcan1.Init.DataPrescaler = 1;
  hfdcan1.Init.DataSyncJumpWidth = 1;
  hfdcan1.Init.DataTimeSeg1 = 1;
  hfdcan1.Init.DataTimeSeg2 = 1;
  hfdcan1.Init.MessageRAMOffset = 0;
  hfdcan1.Init.StdFiltersNbr = 1;
  hfdcan1.Init.ExtFiltersNbr = 1;
  hfdcan1.Init.RxFifo0ElmtsNbr = 32;
  hfdcan1.Init.RxFifo0ElmtSize = FDCAN_DATA_BYTES_8;
  hfdcan1.Init.RxFifo1ElmtsNbr = 0;
  hfdcan1.Init.RxFifo1ElmtSize = FDCAN_DATA_BYTES_8;
  hfdcan1.Init.RxBuffersNbr = 0;
  hfdcan1.Init.RxBufferSize = FDCAN_DATA_BYTES_8;
  hfdcan1.Init.TxEventsNbr = 0;
  hfdcan1.Init.TxBuffersNbr = 0;
  hfdcan1.Init.TxFifoQueueElmtsNbr = 32;
  hfdcan1.Init.TxFifoQueueMode = FDCAN_TX_FIFO_OPERATION;
  hfdcan1.Init.TxElmtSize = FDCAN_DATA_BYTES_8;
  if (HAL_FDCAN_Init(&hfdcan1) != HAL_OK)
  {
    Error_Handler();
  }

}

static void MX_FDCAN2_Init(void)
{

  hfdcan2.Instance = FDCAN2;
  hfdcan2.Init.FrameFormat = FDCAN_FRAME_CLASSIC;
  hfdcan2.Init.Mode = FDCAN_MODE_NORMAL;
  hfdcan2.Init.AutoRetransmission = DISABLE;
  hfdcan2.Init.TransmitPause = DISABLE;
  hfdcan2.Init.ProtocolException = DISABLE;
  hfdcan2.Init.NominalPrescaler = 24;
  hfdcan2.Init.NominalSyncJumpWidth = 1;
  hfdcan2.Init.NominalTimeSeg1 = 2;
  hfdcan2.Init.NominalTimeSeg2 = 2;
  hfdcan2.Init.DataPrescaler = 1;
  hfdcan2.Init.DataSyncJumpWidth = 1;
  hfdcan2.Init.DataTimeSeg1 = 1;
  hfdcan2.Init.DataTimeSeg2 = 1;
  hfdcan2.Init.MessageRAMOffset = 0;
  hfdcan2.Init.StdFiltersNbr = 1;
  hfdcan2.Init.ExtFiltersNbr = 1;
  hfdcan2.Init.RxFifo0ElmtsNbr = 32;
  hfdcan2.Init.RxFifo0ElmtSize = FDCAN_DATA_BYTES_8;
  hfdcan2.Init.RxFifo1ElmtsNbr = 0;
  hfdcan2.Init.RxFifo1ElmtSize = FDCAN_DATA_BYTES_8;
  hfdcan2.Init.RxBuffersNbr = 0;
  hfdcan2.Init.RxBufferSize = FDCAN_DATA_BYTES_8;
  hfdcan2.Init.TxEventsNbr = 0;
  hfdcan2.Init.TxBuffersNbr = 0;
  hfdcan2.Init.TxFifoQueueElmtsNbr = 32;
  hfdcan2.Init.TxFifoQueueMode = FDCAN_TX_FIFO_OPERATION;
  hfdcan2.Init.TxElmtSize = FDCAN_DATA_BYTES_8;
  if (HAL_FDCAN_Init(&hfdcan2) != HAL_OK)
  {
    Error_Handler();
  }
  /* USER CODE BEGIN FDCAN2_Init 2 */
  if (HAL_FDCAN_DeInit(&hfdcan2) != HAL_OK)
  {
    Error_Handler();
  }

  /*ATTENTION:Important setting!Without proper offset setting,message could be read by other CAN bus unexpectedly*/
  hfdcan2.Init.MessageRAMOffset=(hfdcan1.msgRam.EndAddress - SRAMCAN_BASE)/4+1;

  if (HAL_FDCAN_Init(&hfdcan2) != HAL_OK)
  {
    Error_Handler();
  }
  /* USER CODE END FDCAN2_Init 2 */

}

static void MX_FDCAN3_Init(void)
{

  hfdcan3.Instance = FDCAN3;
  hfdcan3.Init.FrameFormat = FDCAN_FRAME_CLASSIC;
  hfdcan3.Init.Mode = FDCAN_MODE_NORMAL;
  hfdcan3.Init.AutoRetransmission = DISABLE;
  hfdcan3.Init.TransmitPause = DISABLE;
  hfdcan3.Init.ProtocolException = DISABLE;
  hfdcan3.Init.NominalPrescaler = 24;
  hfdcan3.Init.NominalSyncJumpWidth = 1;
  hfdcan3.Init.NominalTimeSeg1 = 2;
  hfdcan3.Init.NominalTimeSeg2 = 2;
  hfdcan3.Init.DataPrescaler = 1;
  hfdcan3.Init.DataSyncJumpWidth = 1;
  hfdcan3.Init.DataTimeSeg1 = 1;
  hfdcan3.Init.DataTimeSeg2 = 1;
  hfdcan3.Init.MessageRAMOffset = 0;
  hfdcan3.Init.StdFiltersNbr = 1;
  hfdcan3.Init.ExtFiltersNbr = 1;
  hfdcan3.Init.RxFifo0ElmtsNbr = 32;
  hfdcan3.Init.RxFifo0ElmtSize = FDCAN_DATA_BYTES_8;
  hfdcan3.Init.RxFifo1ElmtsNbr = 0;
  hfdcan3.Init.RxFifo1ElmtSize = FDCAN_DATA_BYTES_8;
  hfdcan3.Init.RxBuffersNbr = 0;
  hfdcan3.Init.RxBufferSize = FDCAN_DATA_BYTES_8;
  hfdcan3.Init.TxEventsNbr = 0;
  hfdcan3.Init.TxBuffersNbr = 0;
  hfdcan3.Init.TxFifoQueueElmtsNbr = 32;
  hfdcan3.Init.TxFifoQueueMode = FDCAN_TX_FIFO_OPERATION;
  hfdcan3.Init.TxElmtSize = FDCAN_DATA_BYTES_8;
  if (HAL_FDCAN_Init(&hfdcan3) != HAL_OK)
  {
    Error_Handler();
  }
  /* USER CODE BEGIN FDCAN3_Init 2 */
  if (HAL_FDCAN_DeInit(&hfdcan3) != HAL_OK)
  {
    Error_Handler();
  }

  hfdcan3.Init.MessageRAMOffset=(hfdcan2.msgRam.EndAddress - SRAMCAN_BASE)/4+1;

  if (HAL_FDCAN_Init(&hfdcan3) != HAL_OK)
  {
    Error_Handler();
  }
  /* USER CODE END FDCAN3_Init 2 */

}

static void MX_SPI6_Init(void)
{

  /* SPI6 parameter configuration*/
  hspi6.Instance = SPI6;
  hspi6.Init.Mode = SPI_MODE_MASTER;
  hspi6.Init.Direction = SPI_DIRECTION_2LINES_TXONLY;
  hspi6.Init.DataSize = SPI_DATASIZE_8BIT;
  hspi6.Init.CLKPolarity = SPI_POLARITY_LOW;
  hspi6.Init.CLKPhase = SPI_PHASE_2EDGE;
  hspi6.Init.NSS = SPI_NSS_SOFT;
  hspi6.Init.BaudRatePrescaler = SPI_BAUDRATEPRESCALER_4;
  hspi6.Init.FirstBit = SPI_FIRSTBIT_MSB;
  hspi6.Init.TIMode = SPI_TIMODE_DISABLE;
  hspi6.Init.CRCCalculation = SPI_CRCCALCULATION_DISABLE;
  hspi6.Init.CRCPolynomial = 0x0;
  hspi6.Init.NSSPMode = SPI_NSS_PULSE_ENABLE;
  hspi6.Init.NSSPolarity = SPI_NSS_POLARITY_LOW;
  hspi6.Init.FifoThreshold = SPI_FIFO_THRESHOLD_01DATA;
  hspi6.Init.TxCRCInitializationPattern = SPI_CRC_INITIALIZATION_ALL_ZERO_PATTERN;
  hspi6.Init.RxCRCInitializationPattern = SPI_CRC_INITIALIZATION_ALL_ZERO_PATTERN;
  hspi6.Init.MasterSSIdleness = SPI_MASTER_SS_IDLENESS_00CYCLE;
  hspi6.Init.MasterInterDataIdleness = SPI_MASTER_INTERDATA_IDLENESS_00CYCLE;
  hspi6.Init.MasterReceiverAutoSusp = SPI_MASTER_RX_AUTOSUSP_DISABLE;
  hspi6.Init.MasterKeepIOState = SPI_MASTER_KEEP_IO_STATE_DISABLE;
  hspi6.Init.IOSwap = SPI_IO_SWAP_DISABLE;
  if (HAL_SPI_Init(&hspi6) != HAL_OK)
  {
    Error_Handler();
  }

}

static void MX_TIM2_Init(void)
{

  TIM_MasterConfigTypeDef sMasterConfig = {0};
  TIM_OC_InitTypeDef sConfigOC = {0};

  htim2.Instance = TIM2;
  htim2.Init.Prescaler = 685-1;
  htim2.Init.CounterMode = TIM_COUNTERMODE_UP;
  htim2.Init.Period = 1000-1;
  htim2.Init.ClockDivision = TIM_CLOCKDIVISION_DIV1;
  htim2.Init.AutoReloadPreload = TIM_AUTORELOAD_PRELOAD_DISABLE;
  if (HAL_TIM_PWM_Init(&htim2) != HAL_OK)
  {
    Error_Handler();
  }
  sMasterConfig.MasterOutputTrigger = TIM_TRGO_RESET;
  sMasterConfig.MasterSlaveMode = TIM_MASTERSLAVEMODE_DISABLE;
  if (HAL_TIMEx_MasterConfigSynchronization(&htim2, &sMasterConfig) != HAL_OK)
  {
    Error_Handler();
  }
  sConfigOC.OCMode = TIM_OCMODE_PWM1;
  sConfigOC.Pulse = 0;
  sConfigOC.OCPolarity = TIM_OCPOLARITY_HIGH;
  sConfigOC.OCFastMode = TIM_OCFAST_DISABLE;
  if (HAL_TIM_PWM_ConfigChannel(&htim2, &sConfigOC, TIM_CHANNEL_1) != HAL_OK)
  {
    Error_Handler();
  }
  if (HAL_TIM_PWM_ConfigChannel(&htim2, &sConfigOC, TIM_CHANNEL_3) != HAL_OK)
  {
    Error_Handler();
  }
  HAL_TIM_MspPostInit(&htim2);

}

static void MX_TIM12_Init(void)
{

  TIM_MasterConfigTypeDef sMasterConfig = {0};
  TIM_OC_InitTypeDef sConfigOC = {0};

  htim12.Instance = TIM12;
  htim12.Init.Prescaler = 24-1;
  htim12.Init.CounterMode = TIM_COUNTERMODE_UP;
  htim12.Init.Period = 2000-1;
  htim12.Init.ClockDivision = TIM_CLOCKDIVISION_DIV1;
  htim12.Init.AutoReloadPreload = TIM_AUTORELOAD_PRELOAD_DISABLE;
  if (HAL_TIM_PWM_Init(&htim12) != HAL_OK)
  {
    Error_Handler();
  }
  sMasterConfig.MasterOutputTrigger = TIM_TRGO_RESET;
  sMasterConfig.MasterSlaveMode = TIM_MASTERSLAVEMODE_DISABLE;
  if (HAL_TIMEx_MasterConfigSynchronization(&htim12, &sMasterConfig) != HAL_OK)
  {
    Error_Handler();
  }
  sConfigOC.OCMode = TIM_OCMODE_PWM1;
  sConfigOC.Pulse = 0;
  sConfigOC.OCPolarity = TIM_OCPOLARITY_HIGH;
  sConfigOC.OCFastMode = TIM_OCFAST_DISABLE;
  if (HAL_TIM_PWM_ConfigChannel(&htim12, &sConfigOC, TIM_CHANNEL_2) != HAL_OK)
  {
    Error_Handler();
  }
  HAL_TIM_MspPostInit(&htim12);

}

static void MX_UART5_Init(void)
{

  huart5.Instance = UART5;
  huart5.Init.BaudRate = 100000;
  huart5.Init.WordLength = UART_WORDLENGTH_9B;
  huart5.Init.StopBits = UART_STOPBITS_1;
  huart5.Init.Parity = UART_PARITY_EVEN;
  huart5.Init.Mode = UART_MODE_TX_RX;
  huart5.Init.HwFlowCtl = UART_HWCONTROL_NONE;
  huart5.Init.OverSampling = UART_OVERSAMPLING_16;
  huart5.Init.OneBitSampling = UART_ONE_BIT_SAMPLE_DISABLE;
  huart5.Init.ClockPrescaler = UART_PRESCALER_DIV1;
  huart5.AdvancedInit.AdvFeatureInit = UART_ADVFEATURE_NO_INIT;
  if (HAL_UART_Init(&huart5) != HAL_OK)
  {
    Error_Handler();
  }
  if (HAL_UARTEx_SetTxFifoThreshold(&huart5, UART_TXFIFO_THRESHOLD_1_8) != HAL_OK)
  {
    Error_Handler();
  }
  if (HAL_UARTEx_SetRxFifoThreshold(&huart5, UART_RXFIFO_THRESHOLD_1_8) != HAL_OK)
  {
    Error_Handler();
  }
  if (HAL_UARTEx_DisableFifoMode(&huart5) != HAL_OK)
  {
    Error_Handler();
  }

}

static void MX_UART7_Init(void)
{

  huart7.Instance = UART7;
  huart7.Init.BaudRate = 115200;
  huart7.Init.WordLength = UART_WORDLENGTH_8B;
  huart7.Init.StopBits = UART_STOPBITS_1;
  huart7.Init.Parity = UART_PARITY_NONE;
  huart7.Init.Mode = UART_MODE_TX_RX;
  huart7.Init.HwFlowCtl = UART_HWCONTROL_NONE;
  huart7.Init.OverSampling = UART_OVERSAMPLING_16;
  huart7.Init.OneBitSampling = UART_ONE_BIT_SAMPLE_DISABLE;
  huart7.Init.ClockPrescaler = UART_PRESCALER_DIV1;
  huart7.AdvancedInit.AdvFeatureInit = UART_ADVFEATURE_NO_INIT;
  if (HAL_UART_Init(&huart7) != HAL_OK)
  {
    Error_Handler();
  }
  if (HAL_UARTEx_SetTxFifoThreshold(&huart7, UART_TXFIFO_THRESHOLD_1_8) != HAL_OK)
  {
    Error_Handler();
  }
  if (HAL_UARTEx_SetRxFifoThreshold(&huart7, UART_RXFIFO_THRESHOLD_1_8) != HAL_OK)
  {
    Error_Handler();
  }
  if (HAL_UARTEx_DisableFifoMode(&huart7) != HAL_OK)
  {
    Error_Handler();
  }

}

static void MX_USART1_UART_Init(void)
{

  huart1.Instance = USART1;
  huart1.Init.BaudRate = 115200;
  huart1.Init.WordLength = UART_WORDLENGTH_8B;
  huart1.Init.StopBits = UART_STOPBITS_1;
  huart1.Init.Parity = UART_PARITY_NONE;
  huart1.Init.Mode = UART_MODE_TX_RX;
  huart1.Init.HwFlowCtl = UART_HWCONTROL_NONE;
  huart1.Init.OverSampling = UART_OVERSAMPLING_16;
  huart1.Init.OneBitSampling = UART_ONE_BIT_SAMPLE_DISABLE;
  huart1.Init.ClockPrescaler = UART_PRESCALER_DIV1;
  huart1.AdvancedInit.AdvFeatureInit = UART_ADVFEATURE_NO_INIT;
  if (HAL_UART_Init(&huart1) != HAL_OK)
  {
    Error_Handler();
  }
  if (HAL_UARTEx_SetTxFifoThreshold(&huart1, UART_TXFIFO_THRESHOLD_1_8) != HAL_OK)
  {
    Error_Handler();
  }
  if (HAL_UARTEx_SetRxFifoThreshold(&huart1, UART_RXFIFO_THRESHOLD_1_8) != HAL_OK)
  {
    Error_Handler();
  }
  if (HAL_UARTEx_DisableFifoMode(&huart1) != HAL_OK)
  {
    Error_Handler();
  }

}

static void MX_USART10_UART_Init(void)
{

  huart10.Instance = USART10;
  huart10.Init.BaudRate = 115200;
  huart10.Init.WordLength = UART_WORDLENGTH_8B;
  huart10.Init.StopBits = UART_STOPBITS_1;
  huart10.Init.Parity = UART_PARITY_NONE;
  huart10.Init.Mode = UART_MODE_TX_RX;
  huart10.Init.HwFlowCtl = UART_HWCONTROL_NONE;
  huart10.Init.OverSampling = UART_OVERSAMPLING_16;
  huart10.Init.OneBitSampling = UART_ONE_BIT_SAMPLE_DISABLE;
  huart10.Init.ClockPrescaler = UART_PRESCALER_DIV1;
  huart10.AdvancedInit.AdvFeatureInit = UART_ADVFEATURE_NO_INIT;
  if (HAL_UART_Init(&huart10) != HAL_OK)
  {
    Error_Handler();
  }
  if (HAL_UARTEx_SetTxFifoThreshold(&huart10, UART_TXFIFO_THRESHOLD_1_8) != HAL_OK)
  {
    Error_Handler();
  }
  if (HAL_UARTEx_SetRxFifoThreshold(&huart10, UART_RXFIFO_THRESHOLD_1_8) != HAL_OK)
  {
    Error_Handler();
  }
  if (HAL_UARTEx_DisableFifoMode(&huart10) != HAL_OK)
  {
    Error_Handler();
  }

}

static void MX_DMA_Init(void)
{

  /* DMA controller clock enable */
  __HAL_RCC_DMA1_CLK_ENABLE();

  /* DMA interrupt init */
  /* DMA1_Stream0_IRQn interrupt configuration */
  HAL_NVIC_SetPriority(DMA1_Stream0_IRQn, 5, 0);
  HAL_NVIC_EnableIRQ(DMA1_Stream0_IRQn);
  /* DMA1_Stream1_IRQn interrupt configuration */
  HAL_NVIC_SetPriority(DMA1_Stream1_IRQn, 5, 0);
  HAL_NVIC_EnableIRQ(DMA1_Stream1_IRQn);
  /* DMA1_Stream2_IRQn interrupt configuration */
  HAL_NVIC_SetPriority(DMA1_Stream2_IRQn, 5, 0);
  HAL_NVIC_EnableIRQ(DMA1_Stream2_IRQn);
  /* DMA1_Stream3_IRQn interrupt configuration */
  HAL_NVIC_SetPriority(DMA1_Stream3_IRQn, 5, 0);
  HAL_NVIC_EnableIRQ(DMA1_Stream3_IRQn);
  /* DMA1_Stream4_IRQn interrupt configuration */
  HAL_NVIC_SetPriority(DMA1_Stream4_IRQn, 5, 0);
  HAL_NVIC_EnableIRQ(DMA1_Stream4_IRQn);
  /* DMA1_Stream5_IRQn interrupt configuration */
  HAL_NVIC_SetPriority(DMA1_Stream5_IRQn, 5, 0);
  HAL_NVIC_EnableIRQ(DMA1_Stream5_IRQn);
  /* DMA1_Stream7_IRQn interrupt configuration */
  HAL_NVIC_SetPriority(DMA1_Stream7_IRQn, 5, 0);
  HAL_NVIC_EnableIRQ(DMA1_Stream7_IRQn);

}

static void MX_GPIO_Init(void)
{
  GPIO_InitTypeDef GPIO_InitStruct = {0};

  /* GPIO Ports Clock Enable */
  __HAL_RCC_GPIOE_CLK_ENABLE();
  __HAL_RCC_GPIOC_CLK_ENABLE();
  __HAL_RCC_GPIOH_CLK_ENABLE();
  __HAL_RCC_GPIOA_CLK_ENABLE();
  __HAL_RCC_GPIOB_CLK_ENABLE();
  __HAL_RCC_GPIOD_CLK_ENABLE();

  /*Configure GPIO pin Output Level */
  HAL_GPIO_WritePin(POWER_5V_EN_GPIO_Port, POWER_5V_EN_Pin, GPIO_PIN_RESET);

  /*Configure GPIO pin Output Level */
  HAL_GPIO_WritePin(GPIOE, CLAW_CLOSE_PIN|CLAW_OPEN_PIN, GPIO_PIN_RESET);

  /*Configure GPIO pin : POWER_5V_EN_Pin */
  GPIO_InitStruct.Pin = POWER_5V_EN_Pin;
  GPIO_InitStruct.Mode = GPIO_MODE_OUTPUT_PP;
  GPIO_InitStruct.Pull = GPIO_NOPULL;
  GPIO_InitStruct.Speed = GPIO_SPEED_FREQ_LOW;
  HAL_GPIO_Init(POWER_5V_EN_GPIO_Port, &GPIO_InitStruct);

  /*Configure GPIO pins : CLAW_CLOSE_PIN CLAW_OPEN_PIN */
  GPIO_InitStruct.Pin = CLAW_CLOSE_PIN|CLAW_OPEN_PIN;
  GPIO_InitStruct.Mode = GPIO_MODE_OUTPUT_PP;
  GPIO_InitStruct.Pull = GPIO_NOPULL;
  GPIO_InitStruct.Speed = GPIO_SPEED_FREQ_LOW;
  HAL_GPIO_Init(GPIOE, &GPIO_InitStruct);

}

/* USER CODE BEGIN 4 */
float AK_pos=-140;
/* USER CODE END 4 */

void StartDefaultTask(void *argument)
{
  /* USER CODE BEGIN 5 */
  #define LEDBRIGHT() WS2812_Ctrl(10,10,10)
  #define LEDDARK() WS2812_Ctrl(0,0,0)

  DetectTask(argument);
  //AK_joint_motor_current_ctrl(&AK70_10_motor,0);
  //AK_joint_motor_speed_ctrl(&AK70_10_motor,10);

  /* Infinite loop */
  for(;;)
  {
    //USART1_Recv(dat,1);
    //SERVO1_RS485_Send(&__motor_s,&__motor_r);
    //set_pwm1_duty(uwu);
    //AK_joint_motor_pos_speed_ctrl(&AK70_10_motor,AK_pos,100,10);
    osDelay(50);
  }
  /* USER CODE END 5 */
}

void __chassis_task(void *argument)
{
  /* USER CODE BEGIN __chassis_task */
  chassis_task(argument);
  /* Infinite loop */
  for(;;)
  {
    osDelay(1);
  }
  /* USER CODE END __chassis_task */
}

void __usart2_measure_task(void *argument)
{
  for(;;)
  {
    osDelay(1);
  }
}

void __gimbal_task(void *argument)
{
  /* USER CODE BEGIN __gimbal_task */
  gimbal_task(argument);
  /* Infinite loop */
  for(;;)
  {
    osDelay(1);
  }
  /* USER CODE END __gimbal_task */
}

void __hand_task(void *argument)
{
  /* USER CODE BEGIN __hand_task */
  hand_task(argument);
  /* Infinite loop */
  for(;;)
  {
    osDelay(1);
  }
  /* USER CODE END __hand_task */
}

void __usart3_measure_task(void *argument)
{
  for(;;)
  {
    osDelay(1);
  }
}

void __Custom_Ctrl_Task(void *argument)
{
  /* USER CODE BEGIN __Custom_Ctrl_Task */
  Visual_Trajectory_H7_Task(argument);
  /* Infinite loop */
  for(;;)
  {
    osDelay(1);
  }
  /* USER CODE END __Custom_Ctrl_Task */
}

void __catcher_task(void *argument)
{
  /* USER CODE BEGIN __catcher_task */
  //catcher_task(argument);
  /* Infinite loop */
  for(;;)
  {
    osDelay(1);
  }
  /* USER CODE END __catcher_task */
}

void __referee_task(void *argument)
{
  /* USER CODE BEGIN __referee_task */
  referee_usart_task(argument);
  /* Infinite loop */
  for(;;)
  {
    osDelay(1);
  }
  /* USER CODE END __referee_task */
}

void __vofa_uart_task(void *argument)
{
  /* USER CODE BEGIN __vofa_uart_task */
  /* Infinite loop */
  for(;;)
  {
	  vofa_uart_task(argument);
    osDelay(1);
  }
  /* USER CODE END __vofa_uart_task */
}

/* __motor_timr_ctrl_callback function */
void __motor_timr_ctrl_callback(void *argument)
{
  /* USER CODE BEGIN __motor_timr_ctrl_callback */
  motor_timer_ctrl_callback();
  /* USER CODE END __motor_timr_ctrl_callback */
}

/* __RM_UI_Timer function */
void __RM_UI_Timer(void *argument)
{
  /* USER CODE BEGIN __RM_UI_Timer */
  ui_update_g();
  /* USER CODE END __RM_UI_Timer */
}

void HAL_TIM_PeriodElapsedCallback(TIM_HandleTypeDef *htim)
{
  if (htim->Instance == TIM6) {
    HAL_IncTick();
  }
}

void Error_Handler(void)
{
  __disable_irq();
  while (1)
  {
  }
}
